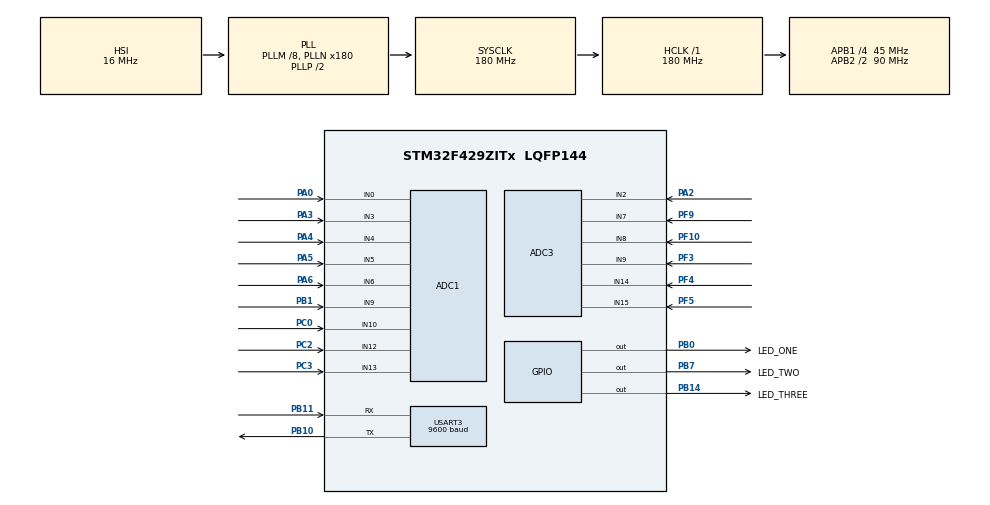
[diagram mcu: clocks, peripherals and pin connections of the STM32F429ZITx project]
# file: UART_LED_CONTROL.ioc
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ADC1.Channel-0\#ChannelRegularConversion=ADC_CHANNEL_3
ADC1.Channel-1\#ChannelRegularConversion=ADC_CHANNEL_10
ADC1.Channel-2\#ChannelRegularConversion=ADC_CHANNEL_0
ADC1.Channel-3\#ChannelRegularConversion=ADC_CHANNEL_0
ADC1.Channel-4\#ChannelRegularConversion=ADC_CHANNEL_0
ADC1.Channel-5\#ChannelRegularConversion=ADC_CHANNEL_0
ADC1.Channel-6\#ChannelRegularConversion=ADC_CHANNEL_0
ADC1.Channel-7\#ChannelRegularConversion=ADC_CHANNEL_0
ADC1.Channel-8\#ChannelRegularConversion=ADC_CHANNEL_0
ADC1.NbrOfConversion=9
ADC1.NbrOfConversionFlag=1
ADC1.Rank-0\#ChannelRegularConversion=1
ADC1.Rank-1\#ChannelRegularConversion=2
ADC1.Rank-2\#ChannelRegularConversion=3
ADC1.Rank-3\#ChannelRegularConversion=4
ADC1.Rank-4\#ChannelRegularConversion=5
ADC1.Rank-5\#ChannelRegularConversion=6
ADC1.Rank-6\#ChannelRegularConversion=7
ADC1.Rank-7\#ChannelRegularConversion=8
ADC1.Rank-8\#ChannelRegularConversion=9
ADC1.SamplingTime-0\#ChannelRegularConversion=ADC_SAMPLETIME_480CYCLES
ADC1.SamplingTime-1\#ChannelRegularConversion=ADC_SAMPLETIME_480CYCLES
ADC1.SamplingTime-2\#ChannelRegularConversion=ADC_SAMPLETIME_3CYCLES
ADC1.SamplingTime-3\#ChannelRegularConversion=ADC_SAMPLETIME_3CYCLES
ADC1.SamplingTime-4\#ChannelRegularConversion=ADC_SAMPLETIME_3CYCLES
ADC1.SamplingTime-5\#ChannelRegularConversion=ADC_SAMPLETIME_3CYCLES
ADC1.SamplingTime-6\#ChannelRegularConversion=ADC_SAMPLETIME_3CYCLES
ADC1.SamplingTime-7\#ChannelRegularConversion=ADC_SAMPLETIME_3CYCLES
ADC1.SamplingTime-8\#ChannelRegularConversion=ADC_SAMPLETIME_480CYCLES
ADC1.master=1
ADC3.Channel-0\#ChannelRegularConversion=ADC_CHANNEL_9
ADC3.Channel-1\#ChannelRegularConversion=ADC_CHANNEL_15
ADC3.Channel-2\#ChannelRegularConversion=ADC_CHANNEL_2
ADC3.Channel-3\#ChannelRegularConversion=ADC_CHANNEL_2
ADC3.Channel-4\#ChannelRegularConversion=ADC_CHANNEL_2
ADC3.Channel-5\#ChannelRegularConversion=ADC_CHANNEL_2
ADC3.NbrOfConversion=6
ADC3.NbrOfConversionFlag=1
ADC3.Rank-0\#ChannelRegularConversion=1
ADC3.Rank-1\#ChannelRegularConversion=2
ADC3.Rank-2\#ChannelRegularConversion=3
ADC3.Rank-3\#ChannelRegularConversion=4
ADC3.Rank-4\#ChannelRegularConversion=5
ADC3.Rank-5\#ChannelRegularConversion=6
ADC3.SamplingTime-0\#ChannelRegularConversion=ADC_SAMPLETIME_480CYCLES
ADC3.SamplingTime-1\#ChannelRegularConversion=ADC_SAMPLETIME_480CYCLES
ADC3.SamplingTime-2\#ChannelRegularConversion=ADC_SAMPLETIME_3CYCLES
ADC3.SamplingTime-3\#ChannelRegularConversion=ADC_SAMPLETIME_3CYCLES
ADC3.SamplingTime-4\#ChannelRegularConversion=ADC_SAMPLETIME_3CYCLES
ADC3.SamplingTime-5\#ChannelRegularConversion=ADC_SAMPLETIME_3CYCLES
Dma.ADC1.0.Direction=DMA_PERIPH_TO_MEMORY
Dma.ADC1.0.FIFOMode=DMA_FIFOMODE_DISABLE
Dma.ADC1.0.Instance=DMA2_Stream0
Dma.ADC1.0.MemDataAlignment=DMA_MDATAALIGN_WORD
Dma.ADC1.0.MemInc=DMA_MINC_ENABLE
Dma.ADC1.0.Mode=DMA_CIRCULAR
Dma.ADC1.0.PeriphDataAlignment=DMA_PDATAALIGN_WORD
Dma.ADC1.0.PeriphInc=DMA_PINC_DISABLE
Dma.ADC1.0.Priority=DMA_PRIORITY_LOW
Dma.Request0=ADC1
Mcu.Family=STM32F4
Mcu.Name=STM32F429ZITx
Mcu.Package=LQFP144
NVIC.DMA2_Stream0_IRQn=true\:0\:0\:false\:false\:true\:false\:true\:true
NVIC.PriorityGroup=NVIC_PRIORITYGROUP_4
NVIC.USART3_IRQn=true\:0\:0\:false\:false\:true\:true\:true\:true
PA0/WKUP.Signal=ADCx_IN0
PA13.Mode=Serial_Wire
PA13.Signal=SYS_JTMS-SWDIO
PA14.Mode=Serial_Wire
PA14.Signal=SYS_JTCK-SWCLK
PA2.Signal=ADCx_IN2
PA3.Signal=ADCx_IN3
PA4.Signal=ADCx_IN4
PA5.Signal=ADCx_IN5
PA6.Signal=ADCx_IN6
PB0.GPIO_Label=LED_ONE
PB0.Signal=GPIO_Output
PB1.Signal=ADCx_IN9
PB10.Mode=Asynchronous
PB10.Signal=USART3_TX
PB11.Mode=Asynchronous
PB11.Signal=USART3_RX
PB14.GPIO_Label=LED_THREE
PB14.Signal=GPIO_Output
PB7.GPIO_Label=LED_TWO
PB7.Signal=GPIO_Output
PC0.Signal=ADCx_IN10
PC2.Signal=ADCx_IN12
PC3.Signal=ADCx_IN13
PF10.Mode=IN8
PF10.Signal=ADC3_IN8
PF3.Mode=IN9
PF3.Signal=ADC3_IN9
PF4.Mode=IN14
PF4.Signal=ADC3_IN14
PF5.Mode=IN15
PF5.Signal=ADC3_IN15
PF9.Mode=IN7
PF9.Signal=ADC3_IN7
PH0/OSC_IN.Mode=HSE-External-Oscillator
PH0/OSC_IN.Signal=RCC_OSC_IN
PH1/OSC_OUT.Mode=HSE-External-Oscillator
PH1/OSC_OUT.Signal=RCC_OSC_OUT
ProjectManager.HeapSize=0x200
ProjectManager.StackSize=0x400
ProjectManager.TargetToolchain=STM32CubeIDE
RCC.48MHZClocksFreq_Value=90000000
RCC.AHBFreq_Value=180000000
RCC.APB1CLKDivider=RCC_HCLK_DIV4
RCC.APB1Freq_Value=45000000
RCC.APB1TimFreq_Value=90000000
RCC.APB2CLKDivider=RCC_HCLK_DIV2
RCC.APB2Freq_Value=90000000
RCC.APB2TimFreq_Value=180000000
RCC.CortexFreq_Value=180000000
RCC.HCLKFreq_Value=180000000
RCC.HSE_VALUE=8000000
RCC.HSI_VALUE=16000000
RCC.LSE_VALUE=32768
RCC.PLLM=8
RCC.PLLN=180
RCC.SYSCLKFreq_VALUE=180000000
RCC.SYSCLKSource=RCC_SYSCLKSOURCE_PLLCLK
RCC.VCOOutputFreq_Value=360000000
SH.ADCx_IN0.0=ADC1_IN0,IN0
SH.ADCx_IN10.0=ADC1_IN10,IN10
SH.ADCx_IN12.0=ADC1_IN12,IN12
SH.ADCx_IN13.0=ADC1_IN13,IN13
SH.ADCx_IN2.0=ADC3_IN2,IN2
SH.ADCx_IN3.0=ADC1_IN3,IN3
SH.ADCx_IN4.0=ADC1_IN4,IN4
SH.ADCx_IN5.0=ADC1_IN5,IN5
SH.ADCx_IN6.0=ADC1_IN6,IN6
SH.ADCx_IN9.0=ADC1_IN9,IN9
USART3.BaudRate=9600
USART3.VirtualMode=VM_ASYNC
board=custom

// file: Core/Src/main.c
/* USER CODE BEGIN Header */
/**
 ******************************************************************************
 * @file           : main.c
 * @brief          : Main program body
 ******************************************************************************
 * @attention
 *
 * Copyright (c) 2023 STMicroelectronics.
 * All rights reserved.
 *
 * This software is licensed under terms that can be found in the LICENSE file
 * in the root directory of this software component.
 * If no LICENSE file comes with this software, it is provided AS-IS.
 *
 ******************************************************************************
 */
/* USER CODE END Header */
#include "main.h"
#include "adc.h"
#include "dma.h"
#include "usart.h"
#include "gpio.h"

/* USER CODE BEGIN Includes */
#define ADC1_NUM 9
#define ADC3_NUM 6
uint32_t ADC1Result[ADC1_NUM];
uint32_t ADC3Result[ADC3_NUM];
/* USER CODE END Includes */

void SystemClock_Config(void);

/* USER CODE BEGIN 0 */
int myData = 0;
uint8_t _test = 0;

int _write(int fd, char *ptr, int len) {
	HAL_UART_Transmit(&huart3, (unsigned char*) ptr, len, HAL_MAX_DELAY);
	return len;
}

void HAL_UART_RxCpltCallback(UART_HandleTypeDef *huart) {

	if (huart->Instance == huart3.Instance) {
		if (myData == '1') {
			HAL_UART_Transmit(&huart3, &myData, 1, 10);
			HAL_GPIO_WritePin(LED_ONE_GPIO_Port, LED_ONE_Pin, 1);

		} else if (myData == '2') {
			HAL_UART_Transmit(&huart3, &myData, 1, 10);
			HAL_GPIO_WritePin(LED_TWO_GPIO_Port, LED_TWO_Pin, 1);

		} else if (myData == '3') {
			HAL_UART_Transmit(&huart3, &myData, 1, 10);
			HAL_GPIO_WritePin(LED_THREE_GPIO_Port, LED_THREE_Pin, 1);

		} else if (myData == '4') {
			HAL_UART_Transmit(&huart3, &myData, 1, 10);
			HAL_GPIO_WritePin(GPIOB, LED_ONE_Pin | LED_TWO_Pin | LED_THREE_Pin,
					0);
		}
		HAL_UART_Receive_IT(&huart3, &myData, 1);

	}
}

/* USER CODE END 0 */

int main(void) {

	/* MCU Configuration--------------------------------------------------------*/

	/* Reset of all peripherals, Initializes the Flash interface and the Systick. */
	HAL_Init();

	/* Configure the system clock */
	SystemClock_Config();

	/* Initialize all configured peripherals */
	MX_GPIO_Init();
	MX_DMA_Init();
	MX_USART3_UART_Init();
	MX_ADC1_Init();
	MX_ADC3_Init();
	/* USER CODE BEGIN 2 */
	HAL_ADC_Start_DMA(&hadc1, (uint32_t*) ADC1Result, ADC1_NUM);
	HAL_ADC_Start_DMA(&hadc3, (uint32_t*) ADC3Result, ADC3_NUM);
	char *str = "Hello world!";
	HAL_UART_Receive_IT(&huart3, &myData, 1);
	/* USER CODE END 2 */

	/* Infinite loop */
	/* USER CODE BEGIN WHILE */

	while (1) {

		printf("%d,%d,%d,%d,%d,%d,%d,%d,%d,%d,%d,%d,%d,%d,%d\r\n",
				ADC1Result[0], ADC1Result[1], ADC1Result[2], ADC1Result[3],
				ADC1Result[4], ADC1Result[5], ADC1Result[6], ADC1Result[7],
				ADC1Result[8], ADC3Result[0], ADC3Result[1], ADC3Result[2],
				ADC3Result[3], ADC3Result[4], ADC3Result[5]);

		HAL_Delay(1000);

		/* UART TX ?��?�� ?��?��?��
		 HAL_UART_Transmit(&huart3, &testData, 1, 10);
		 HAL_Delay(1000);
		 */

		//if(HAL_UART_Receive(&huart3, &testData, 1, 10) == HAL_OK)

		/* USER CODE END WHILE */

	}
}

void SystemClock_Config(void) {
	RCC_OscInitTypeDef RCC_OscInitStruct = { 0 };
	RCC_ClkInitTypeDef RCC_ClkInitStruct = { 0 };

	/** Configure the main internal regulator output voltage
	 */
	__HAL_RCC_PWR_CLK_ENABLE();
	__HAL_PWR_VOLTAGESCALING_CONFIG(PWR_REGULATOR_VOLTAGE_SCALE1);

	/** Initializes the RCC Oscillators according to the specified parameters
	 * in the RCC_OscInitTypeDef structure.
	 */
	RCC_OscInitStruct.OscillatorType = RCC_OSCILLATORTYPE_HSI;
	RCC_OscInitStruct.HSIState = RCC_HSI_ON;
	RCC_OscInitStruct.HSICalibrationValue = RCC_HSICALIBRATION_DEFAULT;
	RCC_OscInitStruct.PLL.PLLState = RCC_PLL_ON;
	RCC_OscInitStruct.PLL.PLLSource = RCC_PLLSOURCE_HSI;
	RCC_OscInitStruct.PLL.PLLM = 8;
	RCC_OscInitStruct.PLL.PLLN = 180;
	RCC_OscInitStruct.PLL.PLLP = RCC_PLLP_DIV2;
	RCC_OscInitStruct.PLL.PLLQ = 4;
	if (HAL_RCC_OscConfig(&RCC_OscInitStruct) != HAL_OK) {
		Error_Handler();
	}

	/** Activate the Over-Drive mode
	 */
	if (HAL_PWREx_EnableOverDrive() != HAL_OK) {
		Error_Handler();
	}

	/** Initializes the CPU, AHB and APB buses clocks
	 */
	RCC_ClkInitStruct.ClockType = RCC_CLOCKTYPE_HCLK | RCC_CLOCKTYPE_SYSCLK
			| RCC_CLOCKTYPE_PCLK1 | RCC_CLOCKTYPE_PCLK2;
	RCC_ClkInitStruct.SYSCLKSource = RCC_SYSCLKSOURCE_PLLCLK;
	RCC_ClkInitStruct.AHBCLKDivider = RCC_SYSCLK_DIV1;
	RCC_ClkInitStruct.APB1CLKDivider = RCC_HCLK_DIV4;
	RCC_ClkInitStruct.APB2CLKDivider = RCC_HCLK_DIV2;

	if (HAL_RCC_ClockConfig(&RCC_ClkInitStruct, FLASH_LATENCY_5) != HAL_OK) {
		Error_Handler();
	}
}

void Error_Handler(void) {
	__disable_irq();
	while (1) {
	}
}
